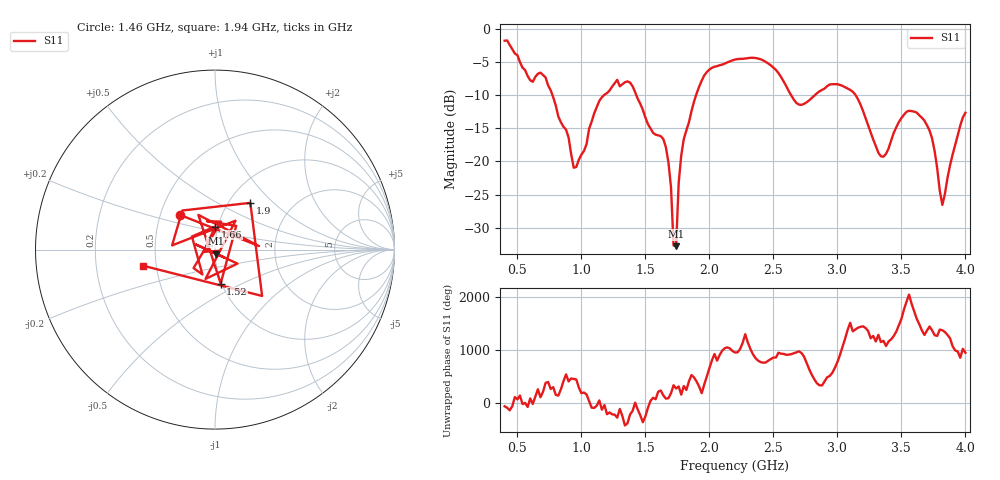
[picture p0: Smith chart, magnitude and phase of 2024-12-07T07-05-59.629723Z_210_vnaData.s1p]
!Created with skrf (http://scikit-rf.org).
# Hz S RI R 50.0
!freq ReS11 ImS11
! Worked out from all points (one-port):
!   181 points, 400 MHz to 4 GHz, reference 50 ohm
!   lowest |S11| = -32.8 dB at 1.74 GHz (marker M1), VSWR 1.05, Z = 50.4 - j2.27 ohm
!   |S11| at or under -10 dB: 774.4 MHz to 1.175 GHz (400.7 MHz wide, 41.1 % of centre); 1.43 GHz to 1.895 GHz (465.8 MHz wide, 28 % of centre); 3.143 GHz to end of sweep (the widest 3 of 4)
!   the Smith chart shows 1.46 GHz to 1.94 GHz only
!   S11 on the Smith chart (normalised r, x): 1.46 GHz: 0.63, +0.26; 1.52 GHz: 0.99, -0.39; 1.66 GHz: 0.97, +0.25; 1.9 GHz: 1.25, +0.73; 1.94 GHz: 0.42, -0.09
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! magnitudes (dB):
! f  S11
! 400 MHz  -1.7
! 600 MHz  -7.7
! 720 MHz  -7.3
! 860 MHz  -14.8
! 960 MHz  -20.8
! 1.14 GHz  -10.8
! 1.3 GHz  -8.6
! 1.38 GHz  -8.1
! 1.46 GHz  -11.3
! 1.52 GHz  -14.4
! 1.66 GHz  -17.8
! 1.7 GHz  -23.9
! 1.72 GHz  -32.7
! 1.74 GHz  -32.8
! 1.76 GHz  -23.3
! 1.8 GHz  -16.6
! 1.9 GHz  -9.7
! 1.94 GHz  -7.8
! 2.2 GHz  -4.6
! 2.46 GHz  -5.2
! 2.66 GHz  -10.7
! 3.1 GHz  -9.2
! 3.34 GHz  -19.2
! 3.56 GHz  -12.3
! 3.72 GHz  -15.3
! 3.82 GHz  -26.6
! 3.9 GHz  -19.0
! 4 GHz  -12.6
